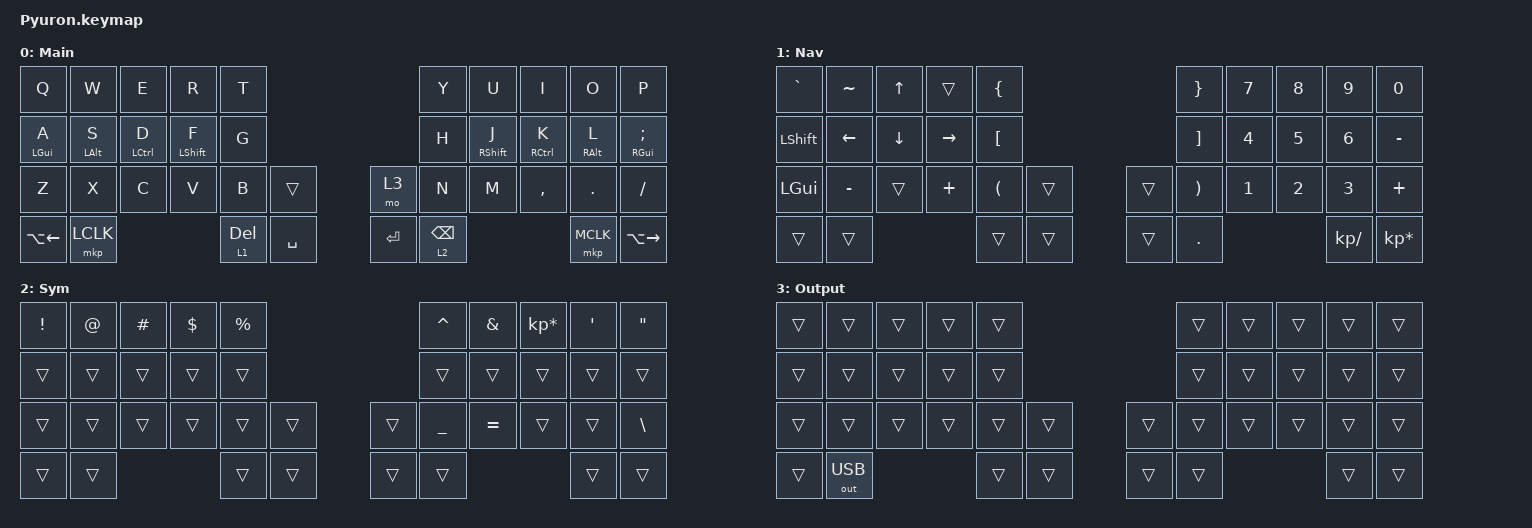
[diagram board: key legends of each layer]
#include <behaviors.dtsi>
#include <dt-bindings/zmk/keys.h>
#include <dt-bindings/zmk/outputs.h>
#include <dt-bindings/zmk/pointing.h>

#define Base        0
#define Nav         1
#define Sym         2
#define Fun         3
#define Game        4
#define Gameplus    5

&mt {
    quick-tap-ms = <100>;
    global-quick-tap;
    flavor = "tap-preferred";
    tapping-term-ms = <170>;
};

&lt {
    tapping-term-ms = <240>;
    flavor = "balanced";
    quick-tap-ms = <150>;
};

/ {
    behaviors {
        hm: homerow_mods {
            compatible = "zmk,behavior-hold-tap";
            label = "HOMEROW_MODS";
            #binding-cells = <2>;
            flavor = "tap-preferred";
            tapping-term-ms = <200>;
            quick-tap-ms = <125>;
            global-quick-tap;
            bindings = <&kp>, <&kp>;
        };
    };

    combos {
        compatible = "zmk,combos";

        mac_spotlight {
            bindings = <&kp LG(SPACE)>;
            key-positions = <11 12 13>;
        };

        Front {
            bindings = <&kp LC(A)>;
            key-positions = <1 0>;
        };

        End {
            bindings = <&kp LC(E)>;
            key-positions = <9 8>;
        };

        copy {
            bindings = <&kp LG(C)>;
            key-positions = <21 22>;
        };

        paste {
            bindings = <&kp LG(V)>;
            key-positions = <23 22>;
        };

        pastenoformat {
            bindings = <&kp LA(LS(LG(V)))>;
            key-positions = <23 24 25>;
        };

        escape {
            bindings = <&kp ESCAPE>;
            key-positions = <0 1 2 3>;
        };

        cut {
            bindings = <&kp LG(X)>;
            key-positions = <21 22 20>;
        };

        rightclick {
            bindings = <&mkp RCLK>;
            key-positions = <25 35>;
        };

        tab {
            bindings = <&kp TAB>;
            key-positions = <17 18 19>;
        };

        dash {
            bindings = <&kp MINUS>;
            key-positions = <19 18>;
        };

        leftclick {
            bindings = <&mkp LCLK>;
            key-positions = <12 13>;
        };
    };

    keymap {
        compatible = "zmk,keymap";

        Main {
            display-name = "Main";
            bindings = <
&kp Q       &kp W       &kp E               &kp R         &kp T         &kp Y      &kp U        &kp I            &kp O       &kp P
&hm LGUI A  &hm LALT S  &hm LCTRL D         &hm LSHIFT F  &kp G         &kp H      &hm RSHFT J  &hm RCTRL K      &hm RALT L  &hm RGUI SEMICOLON
&kp Z       &kp X       &kp C               &kp V         &kp B         &trans     &mo 3        &kp N            &kp M       &kp COMMA
&kp PERIOD  &kp SLASH   &kp LA(LEFT_ARROW)  &mkp LCLK     &lt 1 DELETE  &kp SPACE  &kp ENTER    &lt 2 BACKSPACE  &mkp MCLK   &kp LA(RIGHT_ARROW)
            >;
        };

        Nav {
            display-name = "Nav";
            bindings = <
&kp GRAVE       &kp TILDE  &kp UP_ARROW  &trans     &kp LBRC  &kp RBRC  &kp NUMBER_7  &kp NUMBER_8  &kp NUMBER_9   &kp NUMBER_0
&kp LEFT_SHIFT  &kp LEFT   &kp DOWN      &kp RIGHT  &kp LBKT  &kp RBKT  &kp NUMBER_4  &kp NUMBER_5  &kp NUMBER_6   &kp MINUS
&kp LEFT_GUI    &kp MINUS  &trans        &kp PLUS   &kp LPAR  &trans    &trans        &kp RPAR      &kp NUMBER_1   &kp NUMBER_2
&kp NUMBER_3    &kp PLUS   &trans        &trans     &trans    &trans    &trans        &kp DOT       &kp KP_DIVIDE  &kp KP_MULTIPLY
            >;
        };

        Sym {
            display-name = "Sym";
            bindings = <
&kp EXCL  &kp AT         &kp HASH  &kp DOLLAR  &kp PERCENT  &kp CARET  &kp AMPERSAND  &kp KP_ASTERISK  &kp SQT    &kp DQT
&trans    &trans         &trans    &trans      &trans       &trans     &trans         &trans           &trans     &trans
&trans    &trans         &trans    &trans      &trans       &trans     &trans         &kp UNDER        &kp EQUAL  &trans
&trans    &kp BACKSLASH  &trans    &trans      &trans       &trans     &trans         &trans           &trans     &trans
            >;
        };

        Output {
            bindings = <
&trans  &trans  &trans  &trans        &trans  &trans  &trans  &trans  &trans  &trans
&trans  &trans  &trans  &trans        &trans  &trans  &trans  &trans  &trans  &trans
&trans  &trans  &trans  &trans        &trans  &trans  &trans  &trans  &trans  &trans
&trans  &trans  &trans  &out OUT_USB  &trans  &trans  &trans  &trans  &trans  &trans
            >;
        };
    };
};
